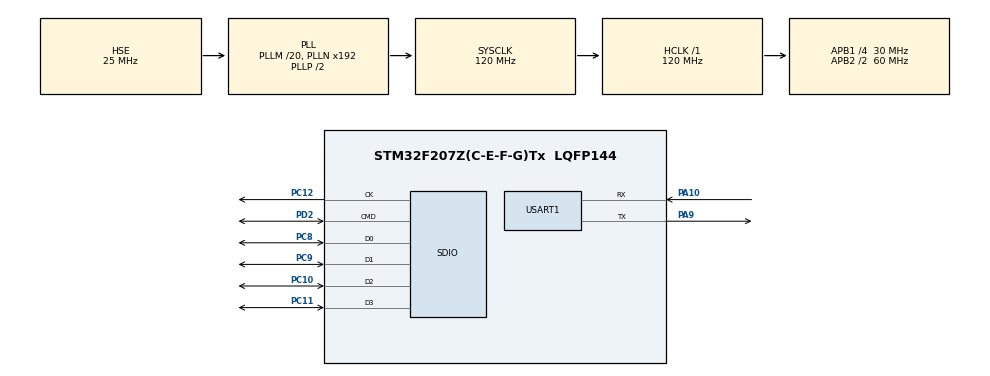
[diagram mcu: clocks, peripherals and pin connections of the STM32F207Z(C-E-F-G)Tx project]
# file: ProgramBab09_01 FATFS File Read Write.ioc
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FATFS._USE_FASTSEEK=1
FATFS._USE_LFN=1
Mcu.Family=STM32F2
Mcu.Name=STM32F207Z(C-E-F-G)Tx
Mcu.Package=LQFP144
NVIC.PriorityGroup=NVIC_PRIORITYGROUP_4
NVIC.USART1_IRQn=true\:0\:0\:false\:false\:true\:true\:true
PA10.Mode=Asynchronous
PA10.Signal=USART1_RX
PA9.Mode=Asynchronous
PA9.Signal=USART1_TX
PC10.Mode=SD_4_bits_Wide_bus
PC10.Signal=SDIO_D2
PC11.Mode=SD_4_bits_Wide_bus
PC11.Signal=SDIO_D3
PC12.Mode=SD_4_bits_Wide_bus
PC12.Signal=SDIO_CK
PC8.Mode=SD_4_bits_Wide_bus
PC8.Signal=SDIO_D0
PC9.Mode=SD_4_bits_Wide_bus
PC9.Signal=SDIO_D1
PD2.Mode=SD_4_bits_Wide_bus
PD2.Signal=SDIO_CMD
PH0-OSC_IN.Mode=HSE-External-Oscillator
PH0-OSC_IN.Signal=RCC_OSC_IN
PH1-OSC_OUT.Mode=HSE-External-Oscillator
PH1-OSC_OUT.Signal=RCC_OSC_OUT
ProjectManager.HeapSize=0x200
ProjectManager.StackSize=0x400
ProjectManager.TargetToolchain=STM32CubeIDE
RCC.48MHZClocksFreq_Value=48000000
RCC.AHBFreq_Value=120000000
RCC.APB1CLKDivider=RCC_HCLK_DIV4
RCC.APB1Freq_Value=30000000
RCC.APB1TimFreq_Value=60000000
RCC.APB2CLKDivider=RCC_HCLK_DIV2
RCC.APB2Freq_Value=60000000
RCC.APB2TimFreq_Value=120000000
RCC.CortexFreq_Value=120000000
RCC.HCLKFreq_Value=120000000
RCC.HSE_VALUE=25000000
RCC.HSI_VALUE=16000000
RCC.LSE_VALUE=32768
RCC.PLLM=20
RCC.PLLQ=5
RCC.PLLSourceVirtual=RCC_PLLSOURCE_HSE
RCC.SYSCLKFreq_VALUE=120000000
RCC.SYSCLKSource=RCC_SYSCLKSOURCE_PLLCLK
RCC.VCOOutputFreq_Value=240000000
USART1.VirtualMode=VM_ASYNC
VP_FATFS_VS_SDIO.Mode=SDIO
board=custom

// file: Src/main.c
/* USER CODE BEGIN Header */
/**
  ******************************************************************************
  * @file           : main.c
  * @brief          : Main program body
  ******************************************************************************
  * @attention
  *
  * <h2><center>&copy; Copyright (c) 2019 STMicroelectronics.
  * All rights reserved.</center></h2>
  *
  * This software component is licensed by ST under BSD 3-Clause license,
  * the "License"; You may not use this file except in compliance with the
  * License. You may obtain a copy of the License at:
  *                        opensource.org/licenses/BSD-3-Clause
  *
  ******************************************************************************
  */
/* USER CODE END Header */
#include "main.h"
#include "fatfs.h"
#include "sdio.h"
#include "usart.h"
#include "gpio.h"

/* USER CODE BEGIN Includes */
#include <stdio.h>
#include <string.h>
/* USER CODE END Includes */

/* USER CODE BEGIN PV */
FATFS fs;
FRESULT res;
FIL TheFile;
uint8_t FileBuffer[512];
uint32_t OperationCode;
/* USER CODE END PV */

void SystemClock_Config(void);

int main(void)
{
  /* USER CODE BEGIN 1 */
  uint8_t Filename[255];
  /* USER CODE END 1 */

  /* MCU Configuration--------------------------------------------------------*/

  /* Reset of all peripherals, Initializes the Flash interface and the Systick. */
  HAL_Init();

  /* Configure the system clock */
  SystemClock_Config();

  /* Initialize all configured peripherals */
  MX_GPIO_Init();
  MX_SDIO_SD_Init();
  MX_USART1_UART_Init();
  MX_FATFS_Init();
  /* USER CODE BEGIN 2 */
  printf("FatFS File Write/Read Example\r\n");
  printf("Mount and read micro SD Card\r\n");
  if(f_mount(&fs, (TCHAR const*)"",1) != FR_OK){
	  printf("Micro SD not detected or not initialized\r\n");
  }
  else{
	  printf("Micro SD OK\r\n");
	  printf("Open and create file FileTest.txt\r\n");
	  sprintf((char*)Filename,"FILEtes.txt");
	  res = f_open(&TheFile, (char*)Filename, FA_CREATE_ALWAYS|FA_WRITE);
	  if(res==FR_OK){
		  printf("Open/Create File FileTest.txt OK\r\n");
		  printf("Write text to file...\r\n");
		  sprintf((char*)FileBuffer,"This text will be wrote to the file");
		  res=f_write(&TheFile,"Test" , strlen((char*)FileBuffer),(void*)&OperationCode);
		  f_close(&TheFile);
		  if(res==FR_OK){
			  printf("Open file FileTest.txt\r\n");
			  res=f_open(&TheFile,"FileTest.txt",FA_READ);
			  if(res==FR_OK){
				  printf("Read the file...\r\n");
				  res=f_read(&TheFile, FileBuffer, 512, (void*)OperationCode);
				  if((res==FR_OK)&&(OperationCode>0)){
					  printf("Open file OK. Reading %lu bytes\r\n",OperationCode);
					  printf("File content %s\r\n",FileBuffer);
					  f_close(&TheFile);
				  }
			  }
		  }
	  }
	  else{
		  printf("Open/Create File Error\r\n");
	  }
  }

  /* USER CODE END 2 */

  /* Infinite loop */
  while (1)
  {

  }
}

void SystemClock_Config(void)
{
  RCC_OscInitTypeDef RCC_OscInitStruct = {0};
  RCC_ClkInitTypeDef RCC_ClkInitStruct = {0};

  /** Initializes the RCC Oscillators according to the specified parameters
  * in the RCC_OscInitTypeDef structure.
  */
  RCC_OscInitStruct.OscillatorType = RCC_OSCILLATORTYPE_HSE;
  RCC_OscInitStruct.HSEState = RCC_HSE_ON;
  RCC_OscInitStruct.PLL.PLLState = RCC_PLL_ON;
  RCC_OscInitStruct.PLL.PLLSource = RCC_PLLSOURCE_HSE;
  RCC_OscInitStruct.PLL.PLLM = 20;
  RCC_OscInitStruct.PLL.PLLN = 192;
  RCC_OscInitStruct.PLL.PLLP = RCC_PLLP_DIV2;
  RCC_OscInitStruct.PLL.PLLQ = 5;
  if (HAL_RCC_OscConfig(&RCC_OscInitStruct) != HAL_OK)
  {
    Error_Handler();
  }
  /** Initializes the CPU, AHB and APB buses clocks
  */
  RCC_ClkInitStruct.ClockType = RCC_CLOCKTYPE_HCLK|RCC_CLOCKTYPE_SYSCLK
                              |RCC_CLOCKTYPE_PCLK1|RCC_CLOCKTYPE_PCLK2;
  RCC_ClkInitStruct.SYSCLKSource = RCC_SYSCLKSOURCE_PLLCLK;
  RCC_ClkInitStruct.AHBCLKDivider = RCC_SYSCLK_DIV1;
  RCC_ClkInitStruct.APB1CLKDivider = RCC_HCLK_DIV4;
  RCC_ClkInitStruct.APB2CLKDivider = RCC_HCLK_DIV2;

  if (HAL_RCC_ClockConfig(&RCC_ClkInitStruct, FLASH_LATENCY_3) != HAL_OK)
  {
    Error_Handler();
  }
}

void Error_Handler(void)
{
}

/************************ (C) COPYRIGHT STMicroelectronics *****END OF FILE****/
